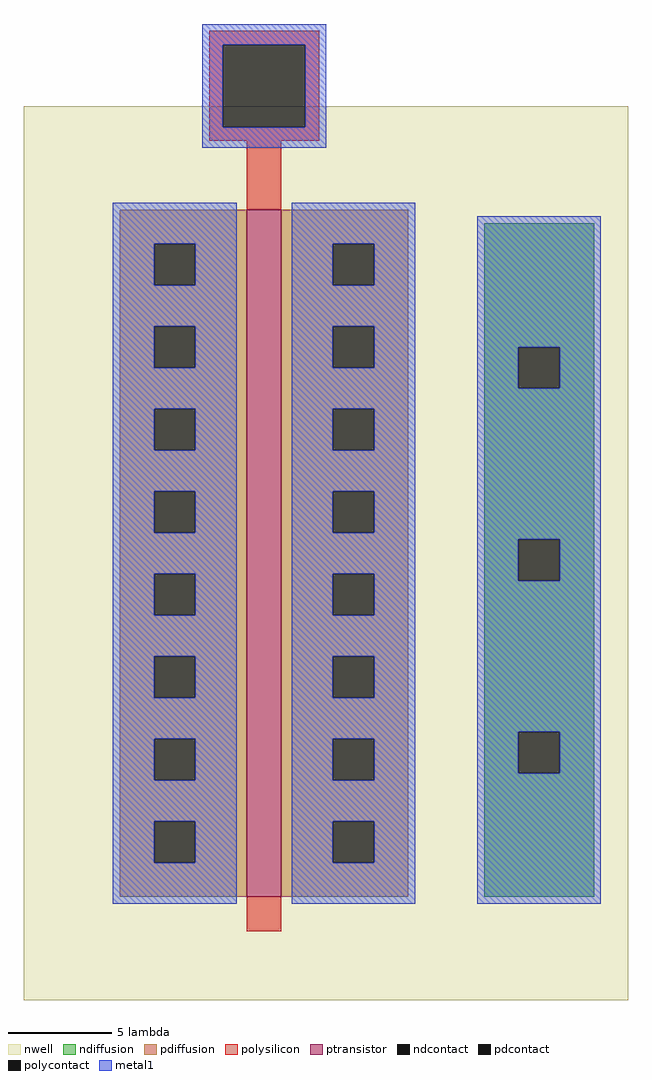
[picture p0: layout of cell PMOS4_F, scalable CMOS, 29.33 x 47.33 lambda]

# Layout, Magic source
magic
tech scmos
magscale 1 6
<< nwell >>
rect 0 0 176 260
<< ptransistor >>
rect 65 30 75 230
<< ndiffusion >>
rect 134 190 166 226
rect 134 178 144 190
rect 156 178 166 190
rect 134 134 166 178
rect 134 122 144 134
rect 156 122 166 134
rect 134 78 166 122
rect 134 66 144 78
rect 156 66 166 78
rect 134 30 166 66
<< pdiffusion >>
rect 28 220 65 230
rect 28 208 38 220
rect 50 208 65 220
rect 28 196 65 208
rect 28 184 38 196
rect 50 184 65 196
rect 28 172 65 184
rect 28 160 38 172
rect 50 160 65 172
rect 28 148 65 160
rect 28 136 38 148
rect 50 136 65 148
rect 28 124 65 136
rect 28 112 38 124
rect 50 112 65 124
rect 28 100 65 112
rect 28 88 38 100
rect 50 88 65 100
rect 28 76 65 88
rect 28 64 38 76
rect 50 64 65 76
rect 28 52 65 64
rect 28 40 38 52
rect 50 40 65 52
rect 28 30 65 40
rect 75 220 112 230
rect 75 208 90 220
rect 102 208 112 220
rect 75 196 112 208
rect 75 184 90 196
rect 102 184 112 196
rect 75 172 112 184
rect 75 160 90 172
rect 102 160 112 172
rect 75 148 112 160
rect 75 136 90 148
rect 102 136 112 148
rect 75 124 112 136
rect 75 112 90 124
rect 102 112 112 124
rect 75 100 112 112
rect 75 88 90 100
rect 102 88 112 100
rect 75 76 112 88
rect 75 64 90 76
rect 102 64 112 76
rect 75 52 112 64
rect 75 40 90 52
rect 102 40 112 52
rect 75 30 112 40
<< ndcontact >>
rect 144 178 156 190
rect 144 122 156 134
rect 144 66 156 78
<< pdcontact >>
rect 38 208 50 220
rect 38 184 50 196
rect 38 160 50 172
rect 38 136 50 148
rect 38 112 50 124
rect 38 88 50 100
rect 38 64 50 76
rect 38 40 50 52
rect 90 208 102 220
rect 90 184 102 196
rect 90 160 102 172
rect 90 136 102 148
rect 90 112 102 124
rect 90 88 102 100
rect 90 64 102 76
rect 90 40 102 52
<< polysilicon >>
rect 54 278 86 282
rect 54 254 58 278
rect 82 254 86 278
rect 54 250 86 254
rect 65 230 75 250
rect 65 20 75 30
<< polycontact >>
rect 58 254 82 278
<< metal1 >>
rect 52 278 88 284
rect 52 254 58 278
rect 82 254 88 278
rect 52 248 88 254
rect 26 220 62 232
rect 26 208 38 220
rect 50 208 62 220
rect 26 196 62 208
rect 26 184 38 196
rect 50 184 62 196
rect 26 172 62 184
rect 26 160 38 172
rect 50 160 62 172
rect 26 148 62 160
rect 26 136 38 148
rect 50 136 62 148
rect 26 124 62 136
rect 26 112 38 124
rect 50 112 62 124
rect 26 100 62 112
rect 26 88 38 100
rect 50 88 62 100
rect 26 76 62 88
rect 26 64 38 76
rect 50 64 62 76
rect 26 52 62 64
rect 26 40 38 52
rect 50 40 62 52
rect 26 28 62 40
rect 78 220 114 232
rect 78 208 90 220
rect 102 208 114 220
rect 78 196 114 208
rect 78 184 90 196
rect 102 184 114 196
rect 78 172 114 184
rect 78 160 90 172
rect 102 160 114 172
rect 78 148 114 160
rect 78 136 90 148
rect 102 136 114 148
rect 78 124 114 136
rect 78 112 90 124
rect 102 112 114 124
rect 78 100 114 112
rect 78 88 90 100
rect 102 88 114 100
rect 78 76 114 88
rect 78 64 90 76
rect 102 64 114 76
rect 78 52 114 64
rect 78 40 90 52
rect 102 40 114 52
rect 78 28 114 40
rect 132 190 168 228
rect 132 178 144 190
rect 156 178 168 190
rect 132 134 168 178
rect 132 122 144 134
rect 156 122 168 134
rect 132 78 168 122
rect 132 66 144 78
rect 156 66 168 78
rect 132 28 168 66
<< end >>
